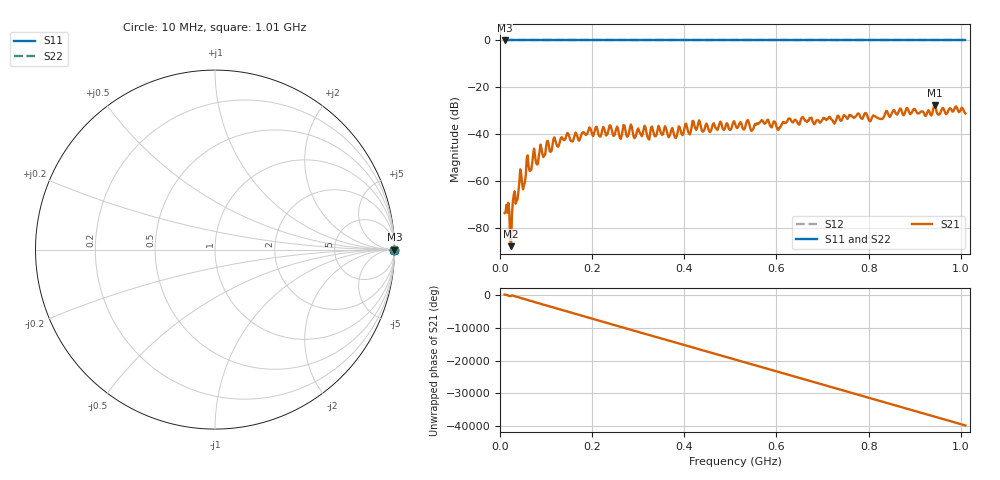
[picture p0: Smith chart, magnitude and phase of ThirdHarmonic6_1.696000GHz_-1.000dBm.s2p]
! 8/16/2025 8:22:50 PM
! C:\ANRITSUVNA\TEMP\TEMP.S2P
! CHANNEL.1
! TR.MEASUREMENT
! RAW.DATA
! RF.CORRECTION.OFF
! AVERAGING.OFF
! IF.BANDWIDTH: 5KHZ
! SWEEPTYPE:  FREQ.SWEEP(Linear)
! Reference Plane Port Info
! PORT:  PORT1  PORT2
! DISTANCE:  0  m  0  m
! TIME:  0  s  0  s
! PHASE.OFFSET:  0  deg.  0  deg.
! LOSS:  0  dB  0  dB
! REF.LOSS:  0  dB  0  dB
! REF.FREQ:  0  Hz  0  Hz
! Power Info
! POWER:  -20  dBm  -20  dBm
! EFF.POWER:  -20  dBm  -20  dBm
! SOURCE.ATTEN:  0  dB  0  dB
! TEST.ATTEN:  0  dB  0  dB
# GHZ S RI R 50.0
! FREQ.GHZ  S11RE  S11IM  S21RE  S21IM  S12RE  S12IM  S22RE  S22IM
!; PortSelection: Port_12
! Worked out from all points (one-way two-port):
!   501 points, 10 MHz to 1.01 GHz, reference 50 ohm
!   highest |S21| = -27.50 dB at 944 MHz (marker M1); lowest = -87.5 dB at 24 MHz (marker M2)
!   lowest |S11| = 0.0 dB at 10 MHz (marker M3)
!   |S11| at or under -10 dB: nowhere
!   |S22| runs from 0.0 to 0.0 dB; largest |S21 - S12| = 1
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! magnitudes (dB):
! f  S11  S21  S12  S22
! 10 MHz  0.0  -73.5  0.0  0.0
! 24 MHz  0.0  -87.5  0.0  0.0
! 44 MHz  0.0  -54.8  0.0  0.0
! 52 MHz  0.0  -61.7  0.0  0.0
! 58 MHz  0.0  -50.3  0.0  0.0
! 66 MHz  0.0  -55.4  0.0  0.0
! 74 MHz  0.0  -46.0  0.0  0.0
! 80 MHz  0.0  -52.7  0.0  0.0
! 88 MHz  0.0  -44.3  0.0  0.0
! 118 MHz  0.0  -41.2  0.0  0.0
! 178 MHz  0.0  -39.3  0.0  0.0
! 344 MHz  0.0  -36.3  0.0  0.0
! 382 MHz  0.0  -41.5  0.0  0.0
! 420 MHz  0.0  -34.4  0.0  0.0
! 510 MHz  0.0  -35.4  0.0  0.0
! 580 MHz  0.0  -33.9  0.0  0.0
! 604 MHz  0.0  -38.1  0.0  0.0
! 628 MHz  0.0  -33.2  0.0  0.0
! 678 MHz  0.0  -34.1  0.0  0.0
! 844 MHz  0.0  -32.1  0.0  0.0
! 944 MHz  0.0  -27.5  0.0  0.0
! 1.01 GHz  0.0  -31.1  0.0  0.0
